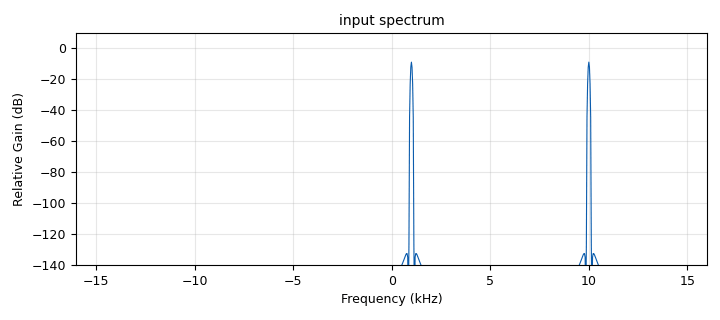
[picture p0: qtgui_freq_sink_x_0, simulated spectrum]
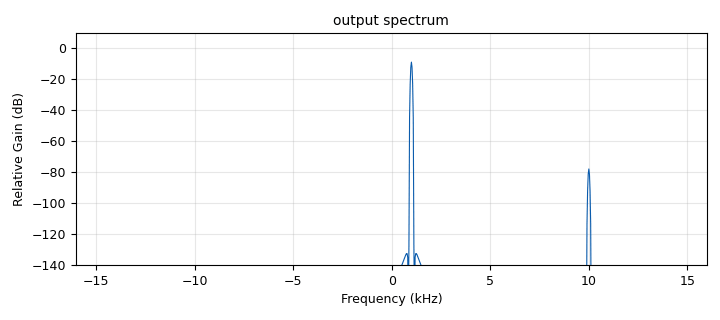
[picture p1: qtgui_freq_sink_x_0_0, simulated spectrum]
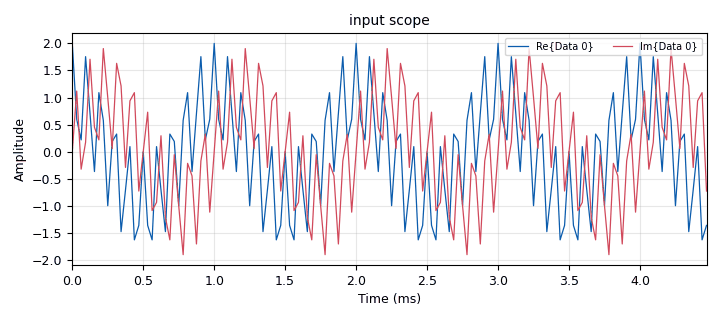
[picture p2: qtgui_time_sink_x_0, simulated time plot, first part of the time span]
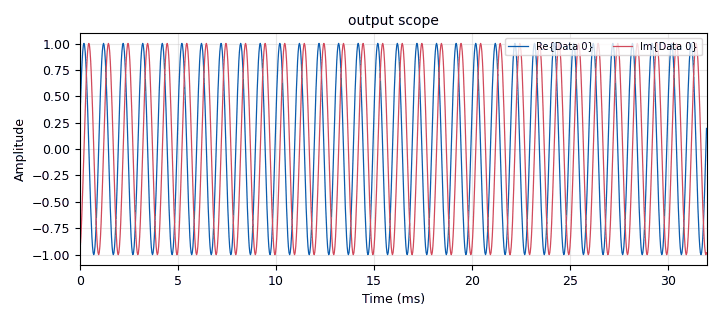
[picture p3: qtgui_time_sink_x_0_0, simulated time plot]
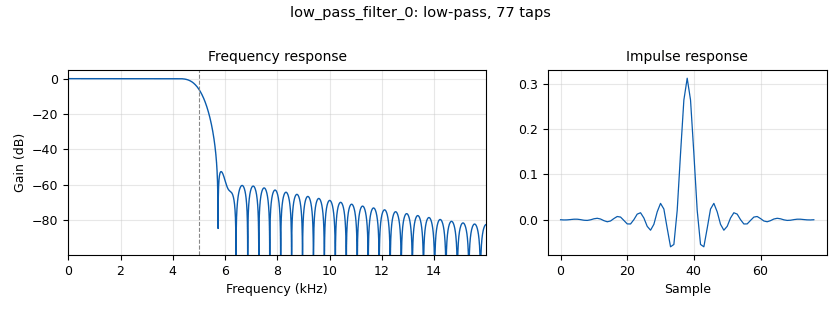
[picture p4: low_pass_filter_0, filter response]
options:
  parameters:
    author: wcc
    generate_options: qt_gui
    id: lab1_lowpass_filter
    output_language: python
    title: lab1_lowpass_filter
  states: {}

blocks:
- name: freq_0
  id: variable_qtgui_range
  parameters:
    label: Frequency_0
    orient: Qt.Horizontal
    rangeType: int
    start: '0'
    step: '1'
    stop: '15000'
    value: '1000'
  states: {}
- name: freq_1
  id: variable_qtgui_range
  parameters:
    label: Frequency_1
    orient: Qt.Horizontal
    rangeType: int
    start: '0'
    step: '1'
    stop: '15000'
    value: '10000'
  states: {}
- name: samp_rate
  id: variable
  parameters:
    value: '32000'
  states: {}
- name: analog_sig_source_x_0
  id: analog_sig_source_x
  parameters:
    amp: '1'
    freq: freq_0
    offset: '0'
    phase: '0'
    samp_rate: samp_rate
    type: complex
    waveform: analog.GR_COS_WAVE
  states: {}
- name: analog_sig_source_x_0_0
  id: analog_sig_source_x
  parameters:
    amp: '1'
    freq: freq_1
    offset: '0'
    phase: '0'
    samp_rate: samp_rate
    type: complex
    waveform: analog.GR_COS_WAVE
  states: {}
- name: blocks_add_xx_0
  id: blocks_add_xx
  parameters:
    type: complex
  states: {}
- name: blocks_throttle_0
  id: blocks_throttle
  parameters:
    samples_per_second: samp_rate
    type: complex
  states: {}
- name: low_pass_filter_0
  id: low_pass_filter
  parameters:
    cutoff_freq: '5000'
    decim: '1'
    gain: '1'
    samp_rate: samp_rate
    type: fir_filter_ccf
    width: '1000'
    win: firdes.WIN_HAMMING
  states: {}
- name: qtgui_freq_sink_x_0
  id: qtgui_freq_sink_x
  parameters:
    bw: samp_rate
    fc: '0'
    fftsize: '1024'
    name: '"input spectrum"'
    type: complex
    wintype: firdes.WIN_BLACKMAN_hARRIS
  states: {}
- name: qtgui_freq_sink_x_0_0
  id: qtgui_freq_sink_x
  parameters:
    bw: samp_rate
    fc: '0'
    fftsize: '1024'
    name: '"output spectrum"'
    type: complex
    wintype: firdes.WIN_BLACKMAN_hARRIS
  states: {}
- name: qtgui_time_sink_x_0
  id: qtgui_time_sink_x
  parameters:
    autoscale: 'True'
    name: '"input scope"'
    size: '1024'
    srate: samp_rate
    type: complex
  states: {}
- name: qtgui_time_sink_x_0_0
  id: qtgui_time_sink_x
  parameters:
    autoscale: 'True'
    name: '"output scope"'
    size: '1024'
    srate: samp_rate
    type: complex
  states: {}

connections:
- [analog_sig_source_x_0, '0', blocks_add_xx_0, '0']
- [analog_sig_source_x_0_0, '0', blocks_add_xx_0, '1']
- [blocks_add_xx_0, '0', blocks_throttle_0, '0']
- [blocks_throttle_0, '0', low_pass_filter_0, '0']
- [blocks_throttle_0, '0', qtgui_freq_sink_x_0, '0']
- [blocks_throttle_0, '0', qtgui_time_sink_x_0, '0']
- [low_pass_filter_0, '0', qtgui_freq_sink_x_0_0, '0']
- [low_pass_filter_0, '0', qtgui_time_sink_x_0_0, '0']

metadata:
  file_format: 1
